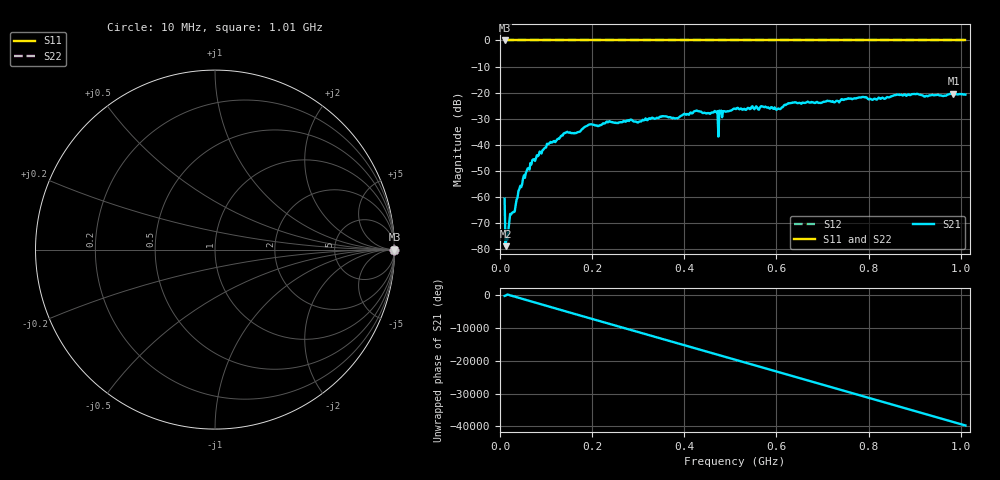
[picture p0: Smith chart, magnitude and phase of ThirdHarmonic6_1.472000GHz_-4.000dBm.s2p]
! 8/16/2025 5:09:39 PM
! C:\ANRITSUVNA\TEMP\TEMP.S2P
! CHANNEL.1
! TR.MEASUREMENT
! RAW.DATA
! RF.CORRECTION.OFF
! AVERAGING.OFF
! IF.BANDWIDTH: 5KHZ
! SWEEPTYPE:  FREQ.SWEEP(Linear)
! Reference Plane Port Info
! PORT:  PORT1  PORT2
! DISTANCE:  0  m  0  m
! TIME:  0  s  0  s
! PHASE.OFFSET:  0  deg.  0  deg.
! LOSS:  0  dB  0  dB
! REF.LOSS:  0  dB  0  dB
! REF.FREQ:  0  Hz  0  Hz
! Power Info
! POWER:  -20  dBm  -20  dBm
! EFF.POWER:  -20  dBm  -20  dBm
! SOURCE.ATTEN:  0  dB  0  dB
! TEST.ATTEN:  0  dB  0  dB
# GHZ S RI R 50.0
! FREQ.GHZ  S11RE  S11IM  S21RE  S21IM  S12RE  S12IM  S22RE  S22IM
!; PortSelection: Port_12
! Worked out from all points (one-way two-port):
!   501 points, 10 MHz to 1.01 GHz, reference 50 ohm
!   highest |S21| = -20.41 dB at 984 MHz (marker M1); lowest = -78.9 dB at 12 MHz (marker M2)
!   lowest |S11| = 0.0 dB at 10 MHz (marker M3)
!   |S11| at or under -10 dB: nowhere
!   |S22| runs from 0.0 to 0.0 dB; largest |S21 - S12| = 1.1
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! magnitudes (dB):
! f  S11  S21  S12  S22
! 10 MHz  0.0  -60.7  0.0  0.0
! 12 MHz  0.0  -78.9  0.0  0.0
! 16 MHz  0.0  -76.5  0.0  0.0
! 24 MHz  0.0  -66.8  0.0  0.0
! 32 MHz  0.0  -65.6  0.0  0.0
! 40 MHz  0.0  -57.8  0.0  0.0
! 70 MHz  0.0  -46.0  0.0  0.0
! 106 MHz  0.0  -39.6  0.0  0.0
! 178 MHz  0.0  -34.0  0.0  0.0
! 344 MHz  0.0  -29.8  0.0  0.0
! 384 MHz  0.0  -29.8  0.0  0.0
! 426 MHz  0.0  -26.9  0.0  0.0
! 468 MHz  0.0  -27.3  0.0  0.0
! 470 MHz  0.0  -27.6  0.0  0.0
! 478 MHz  0.0  -27.2  0.0  0.0
! 480 MHz  0.0  -26.9  0.0  0.0
! 510 MHz  0.0  -26.2  0.0  0.0
! 604 MHz  0.0  -26.1  0.0  0.0
! 678 MHz  0.0  -23.7  0.0  0.0
! 844 MHz  0.0  -21.9  0.0  0.0
! 984 MHz  0.0  -20.4  0.0  0.0
! 1.01 GHz  0.0  -20.8  0.0  0.0
